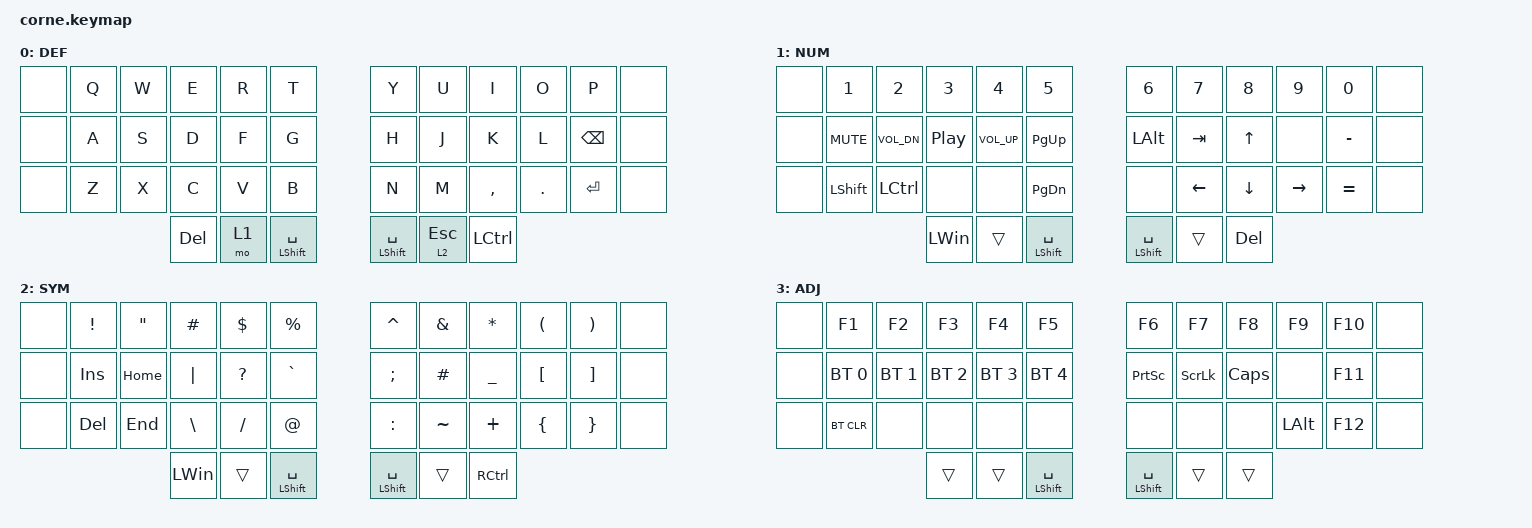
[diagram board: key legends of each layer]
#include <behaviors.dtsi>
#include <dt-bindings/zmk/bt.h>
#include <dt-bindings/zmk/keys.h>

#define DEF 0
#define NAV 1
#define SYM 2
#define ADJ 3
#define EXTRA 4

/ {
    combos {
        compatible = "zmk,combos";

        Esc {
            bindings = <&kp LEFT_WIN>;
            key-positions = <5 6>;
        };
    };

    //

    keymap {
        compatible = "zmk,keymap";

        DEF {
            display-name = "DEF";

            // -----------------------------------------------------------------------------------------
            // |  Q  |  W  |  E  |  R  |  T  |   |  Y  |  U   |  I  |  O  |  P  |
            // |  A  |  S  |  D  |  F  |  G  |   |  H  |  J   |  K  |  L  |  ;  |
            // |  Z  |  X  |  C  |  V  |  B  |   |  N  |  M   |  ,  |  .  |  /  |
            // | GUI | CTRL | SHFT | LWR | SPC |   | ENT | RSE  | BKSP | ALT | ESC |

            bindings = <
&none  &kp Q  &kp W  &kp E       &kp R  &kp T                   &kp Y                 &kp U      &kp I             &kp O    &kp P          &none
&none  &kp A  &kp S  &kp D       &kp F  &kp G                   &kp H                 &kp J      &kp K             &kp L    &kp BACKSPACE  &none
&none  &kp Z  &kp X  &kp C       &kp V  &kp B                   &kp N                 &kp M      &kp COMMA         &kp DOT  &kp ENTER      &none
                     &kp DELETE  &mo 1  &mt LEFT_SHIFT SPACE    &mt LEFT_SHIFT SPACE  &lt 2 ESC  &kp LEFT_CONTROL
            >;
        };

        NUM {
            display-name = "NUM";

            // -----------------------------------------------------------------------------------------
            // |  TAB |  1  |  2  |  3  |  4  |  5  |   |  6  |  7  |  8  |  9  |  0  | BKSP |
            // | BTCLR| BT1 | BT2 | BT3 | BT4 | BT5 |   | LFT | DWN |  UP | RGT |     |      |
            // | SHFT |     |     |     |     |     |   |     |     |     |     |     |      |
            // | GUI | CTRL | SHFT | LWR | SPC |   | ENT | RSE  | BKSP | ALT | ESC |

            bindings = <
&none  &kp N1          &kp N2        &kp N3            &kp N4           &kp N5                  &kp N6                &kp N7          &kp N8          &kp N9           &kp N0     &none
&none  &kp K_MUTE      &kp C_VOL_DN  &kp C_PLAY_PAUSE  &kp C_VOLUME_UP  &kp PAGE_UP             &kp LEFT_ALT          &kp TAB         &kp UP_ARROW    &none            &kp MINUS  &none
&none  &kp LEFT_SHIFT  &kp LCTRL     &none             &none            &kp PAGE_DOWN           &none                 &kp LEFT_ARROW  &kp DOWN_ARROW  &kp RIGHT_ARROW  &kp EQUAL  &none
                                     &kp LEFT_WIN      &trans           &mt LEFT_SHIFT SPACE    &mt LEFT_SHIFT SPACE  &trans          &kp DEL
            >;
        };

        SYM {
            display-name = "SYM";

            // -----------------------------------------------------------------------------------------
            // |  TAB |  !  |  @  |  #  |  $  |  %  |   |  ^  |  &  |  *  |  (  |  )  | BKSP |
            // | CTRL |     |     |     |     |     |   |  -  |  =  |  [  |  ]  |  \  |  `   |
            // | SHFT |     |     |     |     |     |   |  _  |  +  |  {  |  }  | "|" |  ~   |
            //                    | GUI |     | SPC |   | ENT |     | ALT |

            bindings = <
&none  &kp EXCL  &kp DOUBLE_QUOTES  &kp HASH       &kp DLLR      &kp PRCNT               &kp CARET             &kp AMPS   &kp ASTRK          &kp LEFT_PARENTHESIS  &kp RPAR           &none
&none  &kp INS   &kp HOME           &kp PIPE       &kp QUESTION  &kp GRAVE               &kp SEMI              &kp HASH   &kp UNDERSCORE     &kp LEFT_BRACKET      &kp RIGHT_BRACKET  &none
&none  &kp DEL   &kp END            &kp BACKSLASH  &kp SLASH     &kp AT                  &kp COLON             &kp TILDE  &kp PLUS           &kp LEFT_BRACE        &kp RIGHT_BRACE    &none
                                    &kp LEFT_WIN   &trans        &mt LEFT_SHIFT SPACE    &mt LEFT_SHIFT SPACE  &trans     &kp RIGHT_CONTROL
            >;
        };

        ADJ {
            display-name = "ADJ";
            bindings = <
&none  &kp F1        &kp F2        &kp F3        &kp F4        &kp F5                  &kp F6                &kp F7          &kp F8    &kp F9        &kp F10  &none
&none  &bt BT_SEL 0  &bt BT_SEL 1  &bt BT_SEL 2  &bt BT_SEL 3  &bt BT_SEL 4            &kp PRINTSCREEN       &kp SCROLLLOCK  &kp CAPS  &none         &kp F11  &none
&none  &bt BT_CLR    &none         &none         &none         &none                   &none                 &none           &none     &kp LEFT_ALT  &kp F12  &none
                                   &trans        &trans        &mt LEFT_SHIFT SPACE    &mt LEFT_SHIFT SPACE  &trans          &trans
            >;
        };
    };

    conditional_layers {
        compatible = "zmk,conditional-layers";

        l3 {
            if-layers = <1 2>;
            then-layer = <3>;
        };
    };
};
